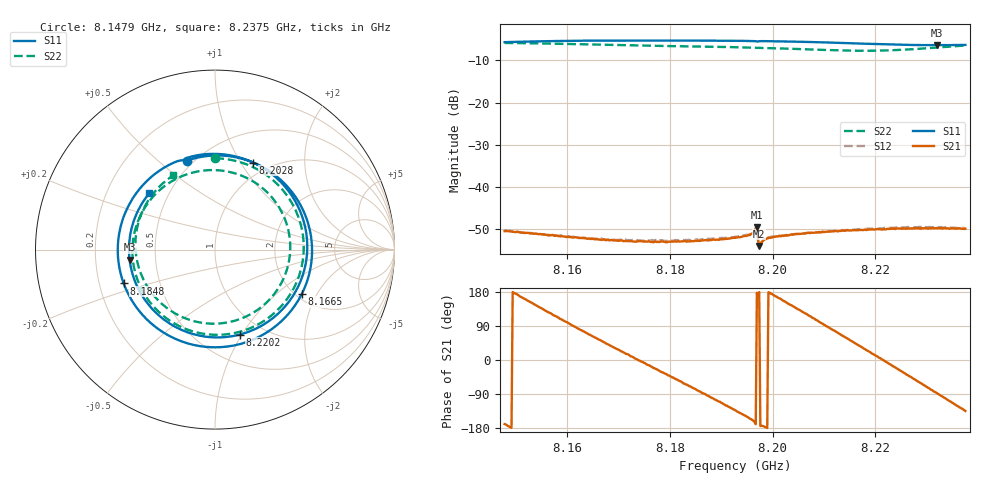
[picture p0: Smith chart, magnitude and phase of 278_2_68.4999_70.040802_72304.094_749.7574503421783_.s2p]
#  HZ  S  RI  R  50.00
! Rohde & Schwarz Vector Network Analyzer
! Rohde-Schwarz,ZNB20-2Port,1311601062101988,3.16
! Created: UTC 3/20/2024, 5:01:02 PM
! freq[Hz]  re:S11  im:S11  re:S21  im:S21  re:S12  im:S12  re:S22  im:S22
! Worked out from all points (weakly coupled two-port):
!   401 points, 8.1479 GHz to 8.2375 GHz, reference 50 ohm
!   highest |S21| = -49.58 dB at 8.1969 GHz (marker M1); lowest = -54.0 dB at 8.1974 GHz (marker M2)
!   lowest |S11| = -6.4 dB at 8.2319 GHz (marker M3), VSWR 2.84, Z = 17.7 - j2.56 ohm
!   |S11| at or under -10 dB: nowhere
!   |S22| runs from -7.7 to -5.9 dB; largest |S21 - S12| = 0.00027
!   S11 on the Smith chart (normalised r, x): 8.1479 GHz: 0.46, +0.63; 8.1665 GHz: 2.15, -1.51; 8.1848 GHz: 0.31, -0.16; 8.2028 GHz: 0.84, +1.13; 8.2202 GHz: 0.78, -0.98; 8.2375 GHz: 0.39, +0.32
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8.147876e9  -0.156 0.4959  -0.00295 -0.00057  -0.00301 -0.000536  0.00182 0.5084
8.151236e9  0.0691 0.5218  -0.00278 0.000735  -0.00279 0.000776  0.2109 0.4601
8.154597e9  0.2826 0.4505  -0.00211 0.00179  -0.0021 0.00184  0.3776 0.3317
8.158854e9  0.4776 0.2461  -0.000795 0.00248  -0.0008 0.00256  0.4874 0.0958
8.162887e9  0.5408 -0.0143  0.000509 0.00244  0.000518 0.00245  0.4687 -0.145
8.166471e9  0.4838 -0.2467  0.00145 0.0019  0.00147 0.00192  0.3594 -0.3255
8.17252e9  0.1846 -0.5121  0.00227 0.000384  0.00227 0.000376  0.0492 -0.4734
8.177897e9  -0.1767 -0.5146  0.00196 -0.00105  0.00205 -0.00108  -0.243 -0.4014
8.184843e9  -0.5089 -0.1885  0.000573 -0.00224  0.000572 -0.00231  -0.4537 -0.0877
8.188652e9  -0.5364 0.0733  -0.000547 -0.00231  -0.00063 -0.00236  -0.4415 0.1221
8.192684e9  -0.4265 0.3302  -0.00168 -0.00185  -0.0018 -0.00184  -0.3278 0.3129
8.196493e9  -0.2135 0.4911  -0.00288 -0.000838  -0.00299 -0.000741  -0.1472 0.4228
8.196941e9  -0.1817 0.4976  -0.00332 0.000145  -0.0034 0.000304  -0.1229 0.4295
8.197389e9  -0.1604 0.5086  -0.002 2.68e-05  -0.00199 5.24e-05  -0.0984 0.4351
8.202766e9  0.2127 0.4849  -0.00236 0.0013  -0.00233 0.00138  0.1984 0.3881
8.207695e9  0.4595 0.2461  -0.00105 0.00267  -0.001 0.0027  0.387 0.1765
8.213744e9  0.4776 -0.1738  0.00139 0.00271  0.00147 0.00271  0.3724 -0.181
8.220241e9  0.1384 -0.4733  0.00312 0.000536  0.00315 0.000445  0.0417 -0.4098
8.222706e9  -0.0387 -0.4867  0.00314 -0.000573  0.0032 -0.00074  -0.122 -0.3974
8.227635e9  -0.3504 -0.3298  0.00202 -0.00251  0.00194 -0.0027  -0.3832 -0.1957
8.231892e9  -0.4757 -0.0558  0.000174 -0.00327  -2.55e-05 -0.00333  -0.439 0.092
8.237493e9  -0.365 0.3151  -0.00225 -0.00229  -0.00242 -0.00217  -0.2316 0.4143
